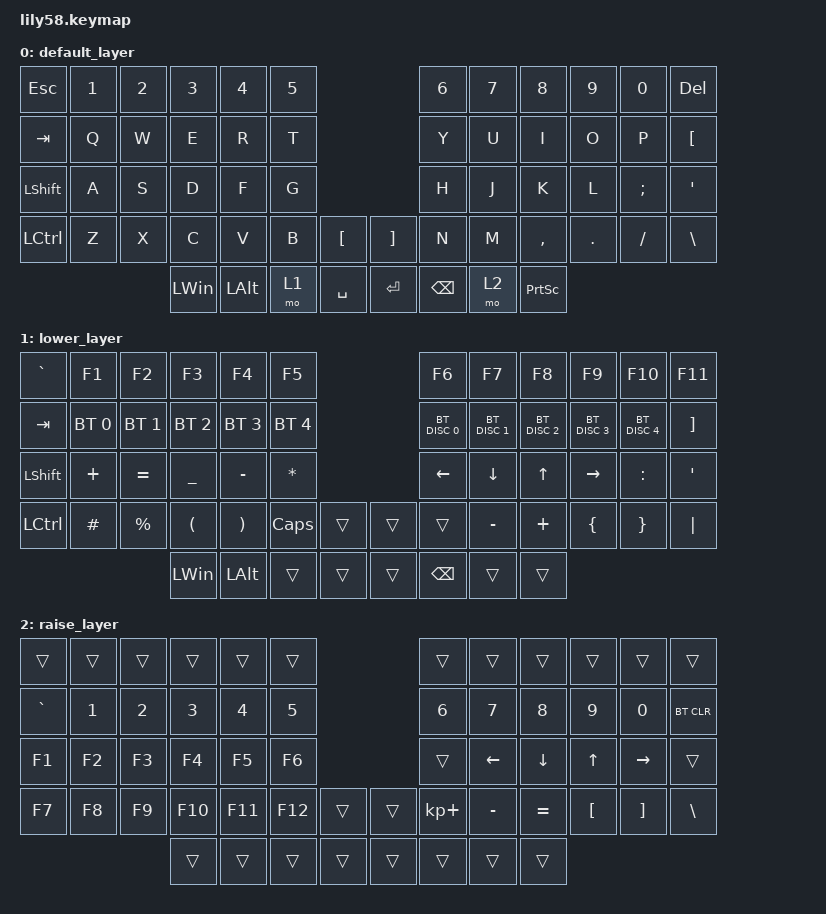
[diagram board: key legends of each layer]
/*
 * Copyright (c) 2020 The ZMK Contributors
 *
 * SPDX-License-Identifier: MIT
 */

#include <behaviors.dtsi>
#include <dt-bindings/zmk/bt.h>
#include <dt-bindings/zmk/keys.h>

/ {
    combos {
        compatible = "zmk,combos";

        combo_esc {
            timeout-ms = <50>;
            key-positions = <0 1>;
            bindings = <&kp ESC>;
        };
    };

    behaviors {
        ss_hs_modmorph: ss_hs_modmorph {
            compatible = "zmk,behavior-mod-morph";
            label = "SS_HS_MODMORPH";
            bindings = <&kp M>, <&kp RIGHT_BRACKET>;

            #binding-cells = <0>;
            mods = <(MOD_LSFT|MOD_RSFT)>;
        };

        kh_hs_tapdance: kh_hs_tapdance {
            compatible = "zmk,behavior-tap-dance";
            label = "KH_HS_TAPDANCE";
            #binding-cells = <0>;
            tapping-term-ms = <200>;
            bindings = <&kp LEFT_BRACKET>, <&kp RIGHT_BRACKET>;
        };

        hrm: hrm {
            compatible = "zmk,behavior-hold-tap";
            #binding-cells = <2>;
            flavor = "tap-preferred";
            tapping-term-ms = <200>;
            quick-tap-ms = <200>;
            require-prior-idle-ms = <125>;
            bindings = <&kp>, <&kp>;
        };
    };

    keymap {
        compatible = "zmk,keymap";

        default_layer {
            // ------------------------------------------------------------------------------------------------------------
            // |  ESC  |  1  |  2  |  3   |  4   |  5   |                   |  6   |  7    |  8    |  9   |   0   |   `   |
            // |  TAB  |  Q  |  W  |  E   |  R   |  T   |                   |  Y   |  U    |  I    |  O   |   P   |   -   |
            // |  CTRL |  A  |  S  |  D   |  F   |  G   |                   |  H   |  J    |  K    |  L   |   ;   |   '   |
            // | SHIFT |  Z  |  X  |  C   |  V   |  B   |   "["  |  |  "]"  |  N   |  M    |  ,    |  .   |   /   | SHIFT |
            //                     | ALT  | GUI  | LOWER|  SPACE |  | ENTER | RAISE| BSPC  | GUI   |

            bindings = <
&kp ESC         &kp N1  &kp N2  &kp N3        &kp N4        &kp N5                         &kp N6         &kp N7  &kp N8           &kp N9   &kp N0    &kp DEL
&kp TAB         &kp Q   &kp W   &kp E         &kp R         &kp T                          &kp Y          &kp U   &kp I            &kp O    &kp P     &kp LEFT_BRACKET
&kp LEFT_SHIFT  &kp A   &kp S   &kp D         &kp F         &kp G                          &kp H          &kp J   &kp K            &kp L    &kp SEMI  &kp SQT
&kp LCTRL       &kp Z   &kp X   &kp C         &kp V         &kp B   &kp LBKT     &kp RBKT  &kp N          &kp M   &kp COMMA        &kp DOT  &kp FSLH  &kp BACKSLASH
                                &kp LEFT_WIN  &kp LEFT_ALT  &mo 1   &kp SPACE    &kp RET   &kp BACKSPACE  &mo 2   &kp PRINTSCREEN
            >;
        };

        lower_layer {
            // ------------------------------------------------------------------------------------------------------------
            // | BTCLR | BT1 | BT2 |  BT3 |  BT4 |  BT5 |                   |      |       |       |      |       |       |
            // |  F1   |  F2 |  F3 |  F4  |  F5  |  F6  |                   |  F7  |  F8   |  F9   |  F10 |  F11  |  F12  |
            // |   `   |  !  |  @  |  #   |  $   |  %   |                   |  ^   |  &    |  *    |  (   |   )   |   ~   |
            // |       |     |     |      |      |      |        |  |       |      |  _    |  +    |  {   |   }   |  "|"  |
            //                     |      |      |      |        |  |       |      |       |       |

            bindings = <
&kp GRAVE       &kp F1        &kp F2        &kp F3                &kp F4                 &kp F5                          &kp F6         &kp F7          &kp F8         &kp F9         &kp F10        &kp F11
&kp TAB         &bt BT_SEL 0  &bt BT_SEL 1  &bt BT_SEL 2          &bt BT_SEL 3           &bt BT_SEL 4                    &bt BT_DISC 0  &bt BT_DISC 1   &bt BT_DISC 2  &bt BT_DISC 3  &bt BT_DISC 4  &kp RIGHT_BRACKET
&kp LEFT_SHIFT  &kp PLUS      &kp EQUAL     &kp UNDERSCORE        &kp MINUS              &kp ASTERISK                    &kp LEFT       &kp DOWN_ARROW  &kp UP_ARROW   &kp RIGHT      &kp COLON      &kp SQT
&kp LCTRL       &kp HASH      &kp PERCENT   &kp LEFT_PARENTHESIS  &kp RIGHT_PARENTHESIS  &kp CAPSLOCK  &trans    &trans  &trans         &kp MINUS       &kp PLUS       &kp LBRC       &kp RBRC       &kp PIPE
                                            &kp LEFT_WIN          &kp LEFT_ALT           &trans        &trans    &trans  &kp BACKSPACE  &trans          &trans
            >;
        };

        raise_layer {
            // ------------------------------------------------------------------------------------------------------------
            // |       |     |     |      |      |      |                   |      |       |       |      |       |       |
            // |   `   |  1  |  2  |  3   |  4   |  5   |                   |  6   |   7   |   8   |  9   |   0   |       |
            // |   F1  |  F2 |  F3 |  F4  |  F5  |  F6  |                   |      |   <-  |   v   |  ^   |  ->   |       |
            // |   F7  |  F8 |  F9 |  F10 |  F11 |  F12 |        |  |       |  +   |   -   |   =   |  [   |   ]   |   \   |
            //                     |      |      |      |        |  |       |      |       |       |

            bindings = <
&trans     &trans  &trans  &trans   &trans   &trans                     &trans       &trans     &trans     &trans    &trans     &trans
&kp GRAVE  &kp N1  &kp N2  &kp N3   &kp N4   &kp N5                     &kp N6       &kp N7     &kp N8     &kp N9    &kp N0     &bt BT_CLR
&kp F1     &kp F2  &kp F3  &kp F4   &kp F5   &kp F6                     &trans       &kp LEFT   &kp DOWN   &kp UP    &kp RIGHT  &trans
&kp F7     &kp F8  &kp F9  &kp F10  &kp F11  &kp F12  &trans    &trans  &kp KP_PLUS  &kp MINUS  &kp EQUAL  &kp LBKT  &kp RBKT   &kp BSLH
                           &trans   &trans   &trans   &trans    &trans  &trans       &trans     &trans
            >;
        };
    };
};
